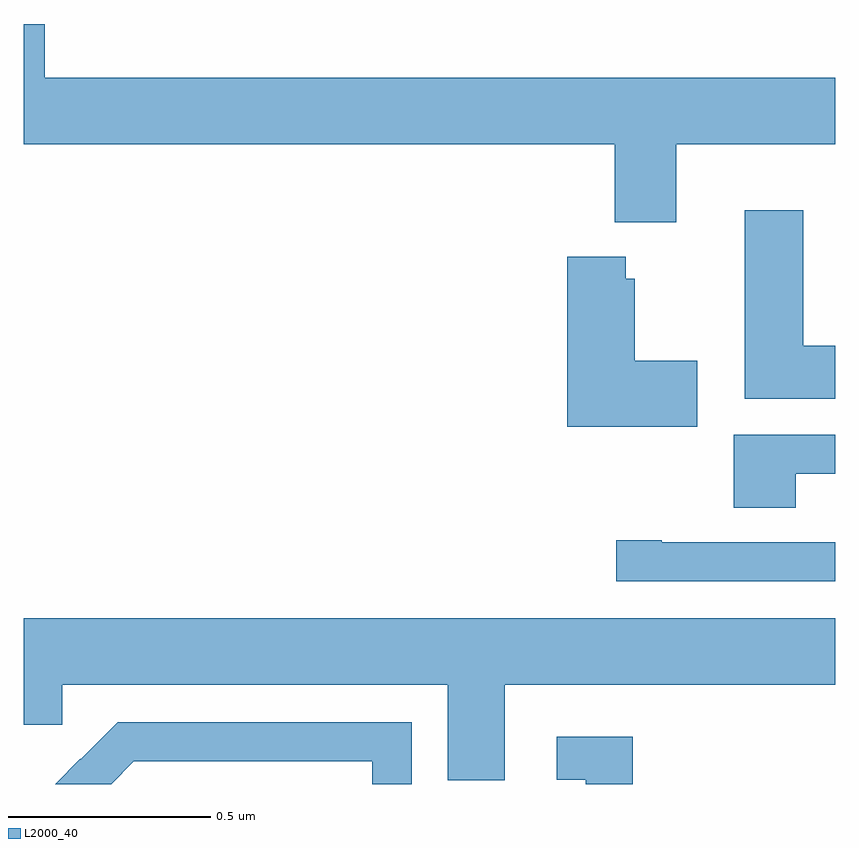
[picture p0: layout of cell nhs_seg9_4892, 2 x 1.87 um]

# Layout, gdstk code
import gdstk
lib = gdstk.Library(unit=1e-6, precision=1e-09)
def P(c, l, *ps):  # polygons
    for p in ps: c.add(gdstk.Polygon(p, *l))
L2000_40 = (2000, 40)

nhs_seg9_4892 = lib.new_cell('nhs_seg9_4892')
P(nhs_seg9_4892, L2000_40, [(173.608,1207.076),(174,1207.076),(174,1207.24),(172.052,1207.24),(172.052,1207.372),(172,1207.372),(172,1207.076),(173.456,1207.076),(173.456,1206.884),(173.608,1206.884)],
  [(174,1206.58),(173.92,1206.58),(173.92,1206.913),(173.777,1206.913),(173.777,1206.449),(174,1206.449)],
  [(173.659,1206.543),(173.506,1206.543),(173.506,1206.745),(173.484,1206.745),(173.484,1206.799),(173.339,1206.799),(173.339,1206.38),(173.659,1206.38)],
  [(173.902,1206.264),(174,1206.264),(174,1206.36),(173.75,1206.36),(173.75,1206.181),(173.902,1206.181)],
  [(174,1206.096),(173.572,1206.096),(173.572,1206.101),(173.46,1206.101),(173.46,1206),(174,1206)],
  [(173.185,1205.744),(174,1205.744),(174,1205.908),(172,1205.908),(172,1205.646),(172.095,1205.646),(172.095,1205.744),(173.045,1205.744),(173.045,1205.509),(173.185,1205.509)],
  [(172.272,1205.556),(172.859,1205.556),(172.859,1205.5),(172.956,1205.5),(172.956,1205.652),(172.232,1205.652),(172.141,1205.561),(172.14,1205.562),(172.078,1205.5),(172.216,1205.5)],
  [(173.501,1205.617),(173.313,1205.617),(173.313,1205.511),(173.385,1205.511),(173.385,1205.5),(173.501,1205.5)])

lib.write_gds('nhs_seg9_4892.gds')
